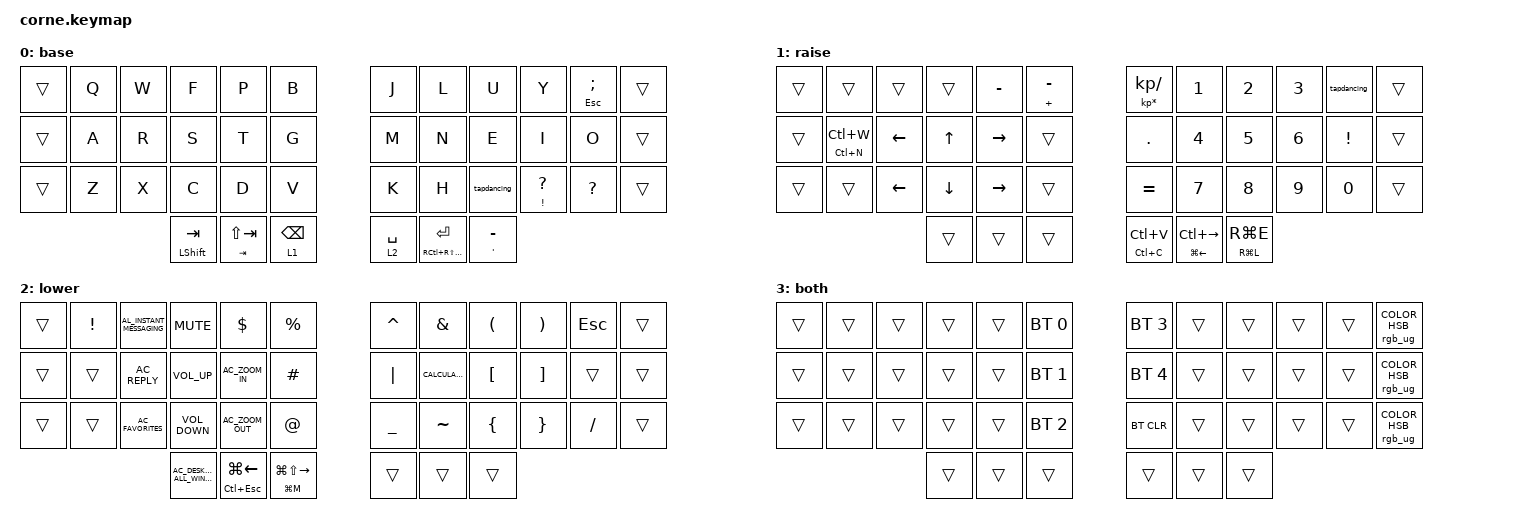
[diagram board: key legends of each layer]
/*
 * Copyright (c) 2020 The ZMK Contributors
 *
 * SPDX-License-Identifier: MIT
 */

#include <behaviors.dtsi>
#include <dt-bindings/zmk/bt.h>
#include <dt-bindings/zmk/keys.h>
#include <dt-bindings/zmk/rgb.h>

// dt-formatter: indent = "  "
// dt-formatter: reindentMultilineIntegerCells = "dedent"

/ {
  behaviors {
    hm: homerow_mods {
      compatible = "zmk,behavior-hold-tap";
      label = "HOMEROW_MODS";
      #binding-cells = <2>;
      tapping-term-ms = <150>;
      quick-tap-ms = <0>;
      flavor = "tap-preferred";
      bindings = <&kp>, <&kp>;
    };

    tapdancing: tapdancing {
      compatible = "zmk,behavior-tap-dance";
      label = "TAPDANCING";
      #binding-cells = <0>;
      tapping-term-ms = <150>;
      bindings = <&kp DOUBLE_QUOTES>, <&kp APOS>;
    };

    new_behavior: new_behavior {
      compatible = "zmk,behavior-hold-tap";
      label = "NEW_BEHAVIOR";
      bindings = <&kp>, <&kp>;

      #binding-cells = <2>;
      tapping-term-ms = <25>;
    };
  };

  combos {
    compatible = "zmk,combos";

    tab {
      bindings = <&trans>;
      key-positions = <2 3>;
    };

    ctrl {
      bindings = <&kp LCTRL>;
      key-positions = <26 27>;
    };

    cmd {
      bindings = <&kp LCMD>;
      key-positions = <37 38>;
    };

    alt {
      bindings = <&kp LEFT_ALT>;
      key-positions = <39 40>;
    };

    shift {
      bindings = <&kp LSHIFT>;
      key-positions = <8 9>;
    };

    caps_word {
      bindings = <&caps_word>;
      key-positions = <17 18>;
    };

    delete {
      bindings = <&kp DEL>;
      key-positions = <32 33>;
    };
  };

  macros {
    backspace: zed_em_kay {
      compatible = "zmk,behavior-macro";
      label = "ZM_zed_em_kay";
      #binding-cells = <0>;
      bindings = <&macro_tap>, <&kp DOT>, <&macro_press>, <&kp COMMA>;

      tap-ms = <30>;
    };
  };

  keymap {
    compatible = "zmk,keymap";

    base {
      bindings = <
&trans  &kp Q  &kp W  &kp F               &kp P            &kp B              &kp J        &kp L                  &kp U                   &kp Y                  &mt ESC SEMICOLON  &trans
&trans  &kp A  &kp R  &kp S               &kp T            &kp G              &kp M        &kp N                  &kp E                   &kp I                  &kp O              &trans
&trans  &kp Z  &kp X  &kp C               &kp D            &kp V              &kp K        &kp H                  &tapdancing             &mt EXCLAMATION QMARK  &kp QUESTION       &trans
                      &mt LEFT_SHIFT TAB  &mt TAB LS(TAB)  &lt 1 BACKSPACE    &lt 2 SPACE  &mt RC(RS(ESC)) ENTER  &mt SINGLE_QUOTE MINUS
      >;
    };

    raise {
      bindings = <
&trans  &trans           &trans          &trans          &kp MINUS        &new_behavior PLUS MINUS    &new_behavior KP_MULTIPLY KP_DIVIDE  &kp NUMBER_1                        &kp NUMBER_2     &kp NUMBER_3  &tapdancing      &trans
&trans  &mt LC(N) LC(W)  &kp LEFT_ARROW  &kp UP_ARROW    &kp RIGHT_ARROW  &trans                      &kp PERIOD                           &kp NUMBER_4                        &kp NUMBER_5     &kp NUMBER_6  &kp EXCLAMATION  &trans
&trans  &trans           &kp LEFT_ARROW  &kp DOWN_ARROW  &kp RIGHT_ARROW  &trans                      &kp EQUAL                            &kp NUMBER_7                        &kp NUMBER_8     &kp NUMBER_9  &kp NUMBER_0     &trans
                                         &trans          &trans           &trans                      &mt LC(C) LC(V)                      &mt LG(LEFT_ARROW) LC(RIGHT_ARROW)  &mt RG(L) RG(E)
      >;
    };

    lower {
      bindings = <
&trans  &kp EXCL  &kp C_AL_INSTANT_MESSAGING  &kp C_MUTE                         &kp DLLR                    &kp PRCNT                        &kp CARET  &kp AMPS          &kp LPAR  &kp RPAR  &kp ESCAPE  &trans
&trans  &trans    &kp C_AC_REPLY              &kp C_VOLUME_UP                    &kp C_AC_ZOOM_IN            &kp HASH                         &kp PIPE   &kp K_CALCULATOR  &kp LBKT  &kp RBKT  &trans      &trans
&trans  &trans    &kp C_AC_FAVORITES          &kp C_VOLUME_DOWN                  &kp C_AC_ZOOM_OUT           &kp AT                           &kp UNDER  &kp TILDE         &kp LBRC  &kp RBRC  &kp SLASH   &trans
                                              &kp C_AC_DESKTOP_SHOW_ALL_WINDOWS  &mt LC(ESC) LG(LEFT_ARROW)  &mt LG(M) LG(LS(RIGHT_ARROW))    &trans     &trans            &trans
      >;
    };

    both {
      bindings = <
&trans  &trans  &trans  &trans  &trans  &bt BT_SEL 0    &bt BT_SEL 3  &trans  &trans  &trans  &trans  &rgb_ug RGB_COLOR_HSB(0,60,50)
&trans  &trans  &trans  &trans  &trans  &bt BT_SEL 1    &bt BT_SEL 4  &trans  &trans  &trans  &trans  &rgb_ug RGB_COLOR_HSB(120,60,50)
&trans  &trans  &trans  &trans  &trans  &bt BT_SEL 2    &bt BT_CLR    &trans  &trans  &trans  &trans  &rgb_ug RGB_COLOR_HSB(240,60,50)
                        &trans  &trans  &trans          &trans        &trans  &trans
      >;
    };
  };
};
